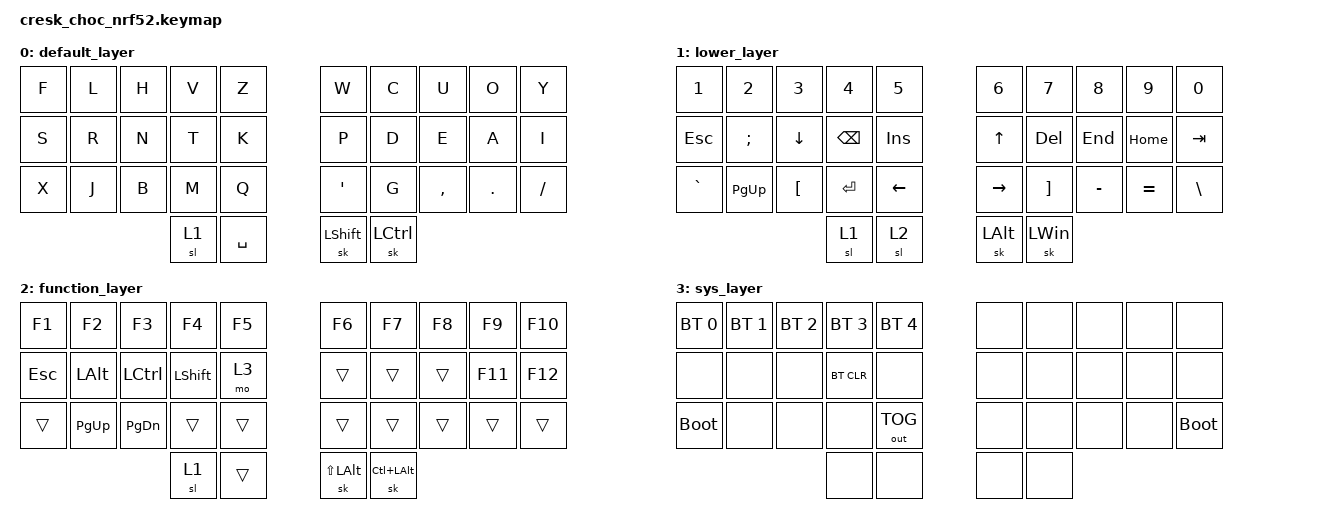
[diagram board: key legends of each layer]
/*
 * Copyright (c) 2023 The ZMK Contributors
 *
 * SPDX-License-Identifier: MIT
 */

#include <behaviors.dtsi>
#include <behaviors/sticky2.dtsi>
#include <dt-bindings/zmk/keys.h>
#include <dt-bindings/zmk/bt.h>
#include <dt-bindings/zmk/outputs.h>

&sk {
	hold-ms = <150>;
	release-after-ms = <200>;
	quick-release;
};

&sl {
	hold-ms = <150>;
	release-after-ms = <200>;
};

/ {
	keymap {
		compatible = "zmk,keymap";

		default_layer {
			bindings = <
&kp F &kp L &kp H &kp V &kp Z &kp W &kp C &kp U &kp O &kp Y
&kp S &kp R &kp N &kp T &kp K &kp P &kp D &kp E &kp A &kp I
&kp X &kp J &kp B &kp M &kp Q &kp SQT &kp G &kp COMMA &kp DOT &kp FSLH
&sl 1 &kp SPACE &sk LSHIFT &sk LCTRL
			>;
		}
;
		lower_layer {
			bindings = <
&kp N1 &kp N2 &kp N3 &kp N4 &kp N5 &kp N6 &kp N7 &kp N8 &kp N9 &kp N0
&kp ESC &kp SEMI &kp DOWN &kp BSPC &kp INS &kp UP &kp DEL &kp END &kp HOME &kp TAB
&kp GRAVE &kp PG_UP &kp LBKT &kp RET &kp LEFT &kp RIGHT &kp RBKT &kp MINUS &kp EQUAL &kp BSLH
&sl 1 &sl 2 &sk LALT &sk LWIN
			>;
		};

		function_layer {
			bindings = <
&kp F1 &kp F2 &kp F3 &kp F4 &kp F5 &kp F6 &kp F7 &kp F8 &kp F9 &kp F10
&kp ESC &kp LALT &kp LCTRL &kp LSHIFT &mo 3 &trans &trans &trans &kp F11 &kp F12
&trans &kp PG_UP &kp PG_DN &trans &trans &trans &trans &trans &trans &trans
&sl 1 &trans &sk LS(LALT) &sk LC(LALT)
			>;
		};

		sys_layer {
			bindings = <
&bt BT_SEL 0 &bt BT_SEL 1 &bt BT_SEL 2 &bt BT_SEL 3 &bt BT_SEL 4 &none &none &none &none &none
&none &none &none &bt BT_CLR &none &none &none &none &none &none
&bootloader &none &none &none &out OUT_TOG &none &none &none &none &bootloader
&none &none &none &none
			>;
		};
	};
};
